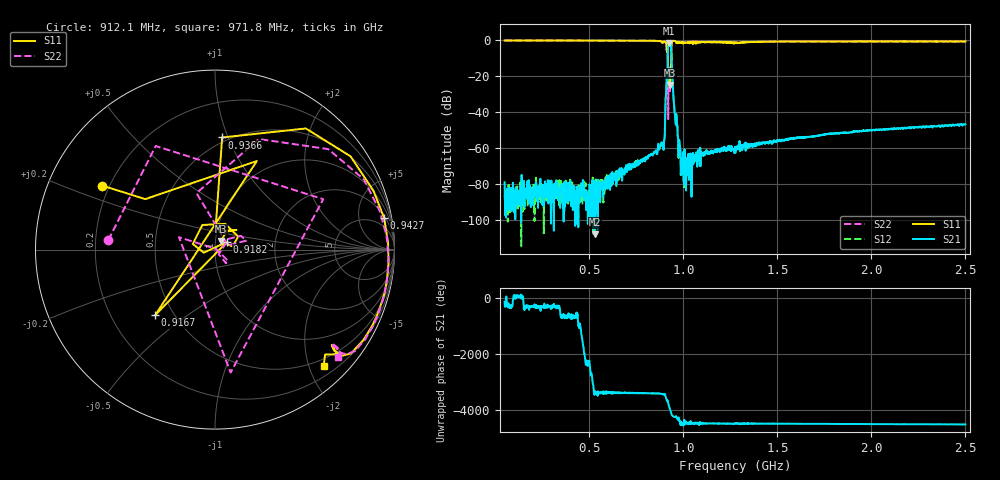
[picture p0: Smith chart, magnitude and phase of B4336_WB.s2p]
! Matrix data file written by TouchstoneData, EPCOS AG
! FILENAME: "B4336_WB.s2p"
! COMMENT: "(B4336_X17Y54_WB.s2p) Epcos AG 2/27/2014 3:3"
! INFO: nport=2, nfreq=1601
! DATE: "Fri Mar  7 18:01:21 2014"
! USER: "Rosemary Xue"
! port | pin | signal
!  1  |  1  |  IN
!  2  |  4  |  OUT
# MHZ S RI R 50
! freq  reS11 imS11  reS21 imS21  reS12 imS12  reS22 imS22
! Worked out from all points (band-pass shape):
!   1601 points, 50 MHz to 2.5 GHz, reference 50 ohm
!   highest |S21| = -1.39 dB at 925.9 MHz (marker M1); lowest = -108.0 dB at 529.3 MHz (marker M2)
!   |S21| within 3 dB of the highest: 918.7 MHz to 935.4 MHz (16.64 MHz wide, 1.8 % of centre)
!   lowest |S11| = -24.8 dB at 928.9 MHz (marker M3), VSWR 1.12, Z = 53.1 + j5.06 ohm
!   |S11| at or under -10 dB: 917.1 MHz to 935.9 MHz (18.87 MHz wide, 2.04 % of centre)
!   |S22| runs from -43.8 to 0.0 dB; largest |S21 - S12| = 0.0034
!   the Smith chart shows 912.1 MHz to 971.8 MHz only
!   S11 on the Smith chart (normalised r, x): 912.1 MHz: 0.17, +0.26; 916.7 MHz: 0.39, -0.38; 918.2 MHz: 1.14, +0.10; 936.6 MHz: 0.46, +0.95; 942.7 MHz: 2, +10; 971.8 MHz: 0.36, -2.25
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50  0.9945 -0.0724  -5.06e-05 -9.94e-05  -9.13e-06 -4.83e-05  0.9959 -0.0628
458.8438  0.7893 -0.6007  -2.98e-05 6.11e-05  -2.79e-05 6.71e-05  0.8311 -0.5399
529.2812  0.7241 -0.676  1.01e-06 -3.87e-06  -1.4e-05 4.12e-06  0.7794 -0.6106
867.6875  0.0345 -0.9531  -0.00132 -4.95e-05  -0.00132 -4.11e-05  0.2024 -0.9487
892.1875  -0.2452 -0.8565  -0.00103 0.000427  -0.00104 0.000401  -0.0422 -0.9232
904.4375  -0.7089 -0.5918  -0.0049 0.0109  -0.00486 0.0109  -0.5227 -0.6722
912.0938  -0.6269 0.3562  0.052 -0.0784  0.0517 -0.0783  -0.594 0.0529
916.6875  -0.3343 -0.3663  0.0357 -0.0679  0.0357 -0.0679  0.0872 -0.6849
918.2188  0.0677 0.0432  0.146 -0.5151  0.1447 -0.5138  -0.2008 0.0691
925.875  0.1286 0.0724  0.4883 0.6979  0.4882 0.6953  0.0557 -0.0687
928.9375  0.0319 0.0475  0.8476 -0.0604  0.8458 -0.0623  0.0762 0.0603
936.5938  0.0399 0.6246  -0.5071 -0.0114  -0.506 -0.0102  0.2442 0.616
942.7188  0.9426 0.1756  -0.0168 0.0775  -0.0166 0.0773  0.9563 0.0745
951.9062  0.9027 -0.3666  0.00557 0.0127  0.00553 0.0127  0.8978 -0.3868
971.8125  0.6051 -0.6504  0.00141 -0.0014  0.00141 -0.00139  0.6863 -0.5988
982.5312  0.5719 -0.6454  -0.000883 -0.000644  -0.000882 -0.00066  0.6142 -0.6125
1003.969  0.4822 -0.713  -0.000255 -0.000206  -0.000241 -0.000229  0.5443 -0.7118
1071.344  0.3401 -0.7906  -0.000597 -0.000234  -0.000586 -0.000232  0.5017 -0.7914
1275  0.2038 -0.8534  -0.00105 -0.000311  -0.00104 -0.000275  0.3017 -0.8094
1683.844  -0.068 -0.9323  -0.00211 9.98e-05  -0.00214 9.03e-05  0.0208 -0.9296
2092.688  -0.2962 -0.8942  -0.00334 0.000996  -0.0033 0.000991  -0.2215 -0.9107
2500  -0.4653 -0.8145  -0.00416 0.00194  -0.00419 0.00193  -0.3996 -0.8269
